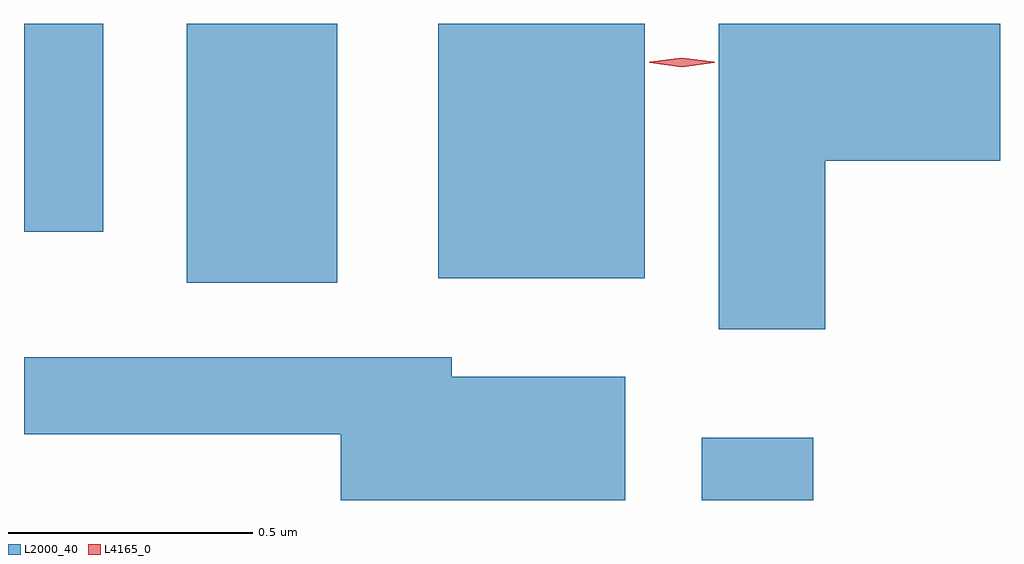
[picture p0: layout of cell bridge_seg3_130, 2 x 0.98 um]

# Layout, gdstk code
import gdstk
lib = gdstk.Library(unit=1e-6, precision=1e-09)
def R(c, l, rs):  # rectangles x0, y0, x1, y1
    for r in rs: c.add(gdstk.rectangle(r[:2], r[2:], *l))
def P(c, l, *ps):  # polygons
    for p in ps: c.add(gdstk.Polygon(p, *l))
L2000_40 = (2000, 40)
L4165_0 = (4165, 0)

bridge_seg3_130 = lib.new_cell('bridge_seg3_130')
R(bridge_seg3_130, L2000_40, [(749.891,1253.006,750.119,1253.134), (748.836,1253.451,749.144,1253.982), (749.351,1253.461,749.774,1253.982), (748.502,1253.556,748.664,1253.982)])
P(bridge_seg3_130, L2000_40, [(750.144,1253.701),(750.502,1253.701),(750.502,1253.982),(749.926,1253.982),(749.926,1253.356),(750.144,1253.356)],
  [(749.734,1253.259),(749.379,1253.259),(749.379,1253.299),(748.502,1253.299),(748.502,1253.141),(749.151,1253.141),(749.151,1253.006),(749.734,1253.006)])
P(bridge_seg3_130, L4165_0, [(749.85,1253.893),(749.784,1253.902),(749.783,1253.903),(749.784,1253.904),(749.85,1253.913),(749.916,1253.904),(749.917,1253.903),(749.916,1253.902)])

lib.write_gds('bridge_seg3_130.gds')
